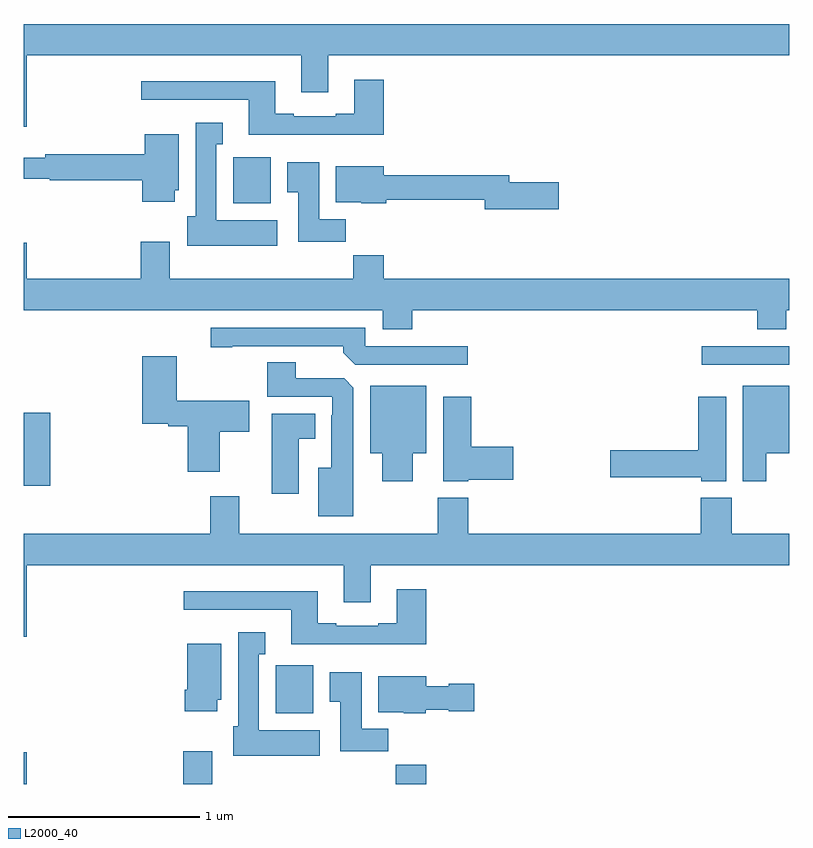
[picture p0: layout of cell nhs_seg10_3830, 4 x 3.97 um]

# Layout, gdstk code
import gdstk
lib = gdstk.Library(unit=1e-6, precision=1e-09)
def R(c, l, rs):  # rectangles x0, y0, x1, y1
    for r in rs: c.add(gdstk.rectangle(r[:2], r[2:], *l))
def P(c, l, *ps):  # polygons
    for p in ps: c.add(gdstk.Polygon(p, *l))
L2000_40 = (2000, 40)

nhs_seg10_3830 = lib.new_cell('nhs_seg10_3830')
R(nhs_seg10_3830, L2000_40, [(321,1304.5,321.016,1304.665), (321.833,1304.5,321.985,1304.671), (322.945,1304.5,323.102,1304.6), (322.317,1304.87,322.513,1305.12), (321,1306.059,321.137,1306.44), (324.543,1306.692,325,1306.788), (322.094,1307.534,322.291,1307.776)])
P(nhs_seg10_3830, L2000_40, [(321.016,1308.308),(322.451,1308.308),(322.451,1308.114),(322.591,1308.114),(322.591,1308.308),(325,1308.308),(325,1308.472),(321,1308.472),(321,1307.934),(321.016,1307.934)],
  [(322.88,1308.181),(322.727,1308.181),(322.727,1308.004),(322.631,1308.004),(322.631,1307.991),(322.411,1307.991),(322.411,1308.004),(322.315,1308.004),(322.315,1308.172),(321.615,1308.172),(321.615,1308.075),(322.175,1308.075),(322.175,1307.894),(322.88,1307.894)],
  [(322.324,1307.446),(322.006,1307.446),(322.006,1307.843),(322.039,1307.843),(322.039,1307.956),(321.899,1307.956),(321.899,1307.466),(321.854,1307.466),(321.854,1307.312),(322.324,1307.312)],
  [(321.79,1307.604),(321.811,1307.604),(321.811,1307.896),(321.632,1307.896),(321.632,1307.792),(321.112,1307.792),(321.112,1307.773),(321,1307.773),(321,1307.664),(321.136,1307.664),(321.136,1307.656),(321.62,1307.656),(321.62,1307.544),(321.79,1307.544)],
  [(322.682,1307.452),(322.543,1307.452),(322.543,1307.749),(322.376,1307.749),(322.376,1307.593),(322.433,1307.593),(322.433,1307.334),(322.682,1307.334)],
  [(323.797,1307.645),(323.536,1307.645),(323.536,1307.681),(322.882,1307.681),(322.882,1307.728),(322.631,1307.728),(322.631,1307.54),(322.764,1307.54),(322.764,1307.534),(322.895,1307.534),(322.895,1307.553),(323.408,1307.553),(323.408,1307.503),(323.797,1307.503)],
  [(323.03,1306.976),(324.833,1306.976),(324.833,1306.877),(324.985,1306.877),(324.985,1306.976),(325,1306.976),(325,1307.14),(322.88,1307.14),(322.88,1307.264),(322.723,1307.264),(322.723,1307.14),(321.763,1307.14),(321.763,1307.335),(321.611,1307.335),(321.611,1307.14),(321.016,1307.14),(321.016,1307.329),(321,1307.329),(321,1306.976),(322.877,1306.976),(322.877,1306.877),(323.03,1306.877)],
  [(323.32,1306.788),(322.785,1306.788),(322.785,1306.884),(321.978,1306.884),(321.978,1306.783),(322.09,1306.783),(322.09,1306.788),(322.67,1306.788),(322.67,1306.754),(322.731,1306.692),(323.32,1306.692)],
  [(322.024,1306.342),(322.177,1306.342),(322.177,1306.504),(321.798,1306.504),(321.798,1306.735),(321.62,1306.735),(321.62,1306.382),(321.755,1306.382),(321.755,1306.37),(321.857,1306.37),(321.857,1306.131),(322.024,1306.131)],
  [(322.723,1306.571),(322.674,1306.62),(322.42,1306.62),(322.42,1306.703),(322.273,1306.703),(322.273,1306.524),(322.611,1306.524),(322.611,1306.427),(322.607,1306.427),(322.607,1306.153),(322.538,1306.153),(322.538,1305.899),(322.723,1305.899)],
  [(324.88,1306.229),(325,1306.229),(325,1306.582),(324.758,1306.582),(324.758,1306.083),(324.88,1306.083)],
  [(323.032,1306.229),(323.104,1306.229),(323.104,1306.582),(322.811,1306.582),(322.811,1306.229),(322.874,1306.229),(322.874,1306.083),(323.032,1306.083)],
  [(324.67,1306.525),(324.524,1306.525),(324.524,1306.244),(324.066,1306.244),(324.066,1306.102),(324.54,1306.102),(324.54,1306.082),(324.67,1306.082)],
  [(323.322,1306.091),(323.557,1306.091),(323.557,1306.262),(323.339,1306.262),(323.339,1306.525),(323.192,1306.525),(323.192,1306.082),(323.322,1306.082)],
  [(322.438,1306.304),(322.522,1306.304),(322.522,1306.435),(322.295,1306.435),(322.295,1306.017),(322.438,1306.017)],
  [(321.016,1305.644),(322.673,1305.644),(322.673,1305.45),(322.813,1305.45),(322.813,1305.644),(325,1305.644),(325,1305.808),(324.699,1305.808),(324.699,1305.997),(324.539,1305.997),(324.539,1305.808),(323.324,1305.808),(323.324,1305.997),(323.164,1305.997),(323.164,1305.808),(322.126,1305.808),(322.126,1306.003),(321.974,1306.003),(321.974,1305.808),(321,1305.808),(321,1305.27),(321.016,1305.27)],
  [(323.102,1305.517),(322.949,1305.517),(322.949,1305.34),(322.853,1305.34),(322.853,1305.327),(322.633,1305.327),(322.633,1305.34),(322.537,1305.34),(322.537,1305.508),(321.837,1305.508),(321.837,1305.411),(322.397,1305.411),(322.397,1305.23),(323.102,1305.23)],
  [(322.546,1304.782),(322.228,1304.782),(322.228,1305.179),(322.261,1305.179),(322.261,1305.292),(322.121,1305.292),(322.121,1304.802),(322.094,1304.802),(322.094,1304.648),(322.546,1304.648)],
  [(322.012,1304.94),(322.033,1304.94),(322.033,1305.232),(321.854,1305.232),(321.854,1304.992),(321.842,1304.992),(321.842,1304.88),(322.012,1304.88)],
  [(322.904,1304.788),(322.765,1304.788),(322.765,1305.085),(322.598,1305.085),(322.598,1304.929),(322.655,1304.929),(322.655,1304.67),(322.904,1304.67)],
  [(323.1,1304.888),(323.22,1304.888),(323.22,1304.881),(323.353,1304.881),(323.353,1305.023),(323.22,1305.023),(323.22,1305.01),(323.104,1305.01),(323.104,1305.064),(322.853,1305.064),(322.853,1304.876),(322.986,1304.876),(322.986,1304.87),(323.1,1304.87)])

lib.write_gds('nhs_seg10_3830.gds')
